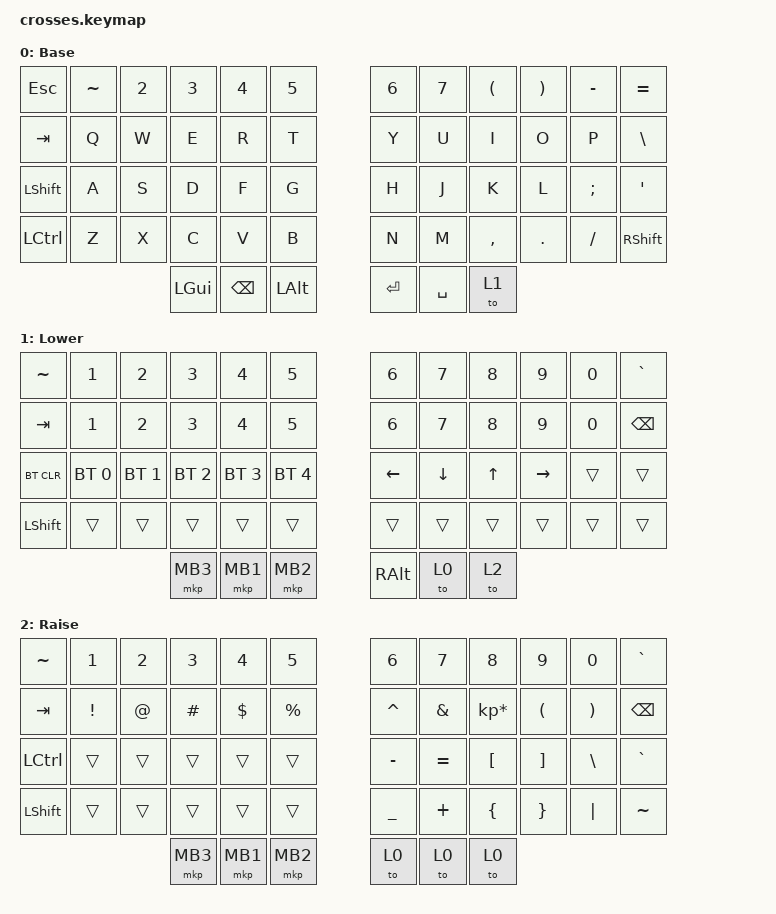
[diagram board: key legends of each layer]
#include <behaviors.dtsi>
#include <dt-bindings/zmk/bt.h>
#include <dt-bindings/zmk/keys.h>
#include <dt-bindings/zmk/pointing.h>

/ {
    chosen { zmk,physical-layout = &gggw_crosses_54_layout; };

    keymap {
        compatible = "zmk,keymap";

        default_layer {
            display-name = "Base";
            bindings = <
&kp ESCAPE      &kp TILDE  &kp N2  &kp N3        &kp N4         &kp N5        &kp N6     &kp N7     &kp LEFT_PARENTHESIS  &kp RIGHT_PARENTHESIS  &kp MINUS  &kp EQUAL
&kp TAB         &kp Q      &kp W   &kp E         &kp R          &kp T         &kp Y      &kp U      &kp I                 &kp O                  &kp P      &kp BACKSLASH
&kp LEFT_SHIFT  &kp A      &kp S   &kp D         &kp F          &kp G         &kp H      &kp J      &kp K                 &kp L                  &kp SEMI   &kp SQT
&kp LCTRL       &kp Z      &kp X   &kp C         &kp V          &kp B         &kp N      &kp M      &kp COMMA             &kp DOT                &kp FSLH   &kp RIGHT_SHIFT
                                   &kp LEFT_GUI  &kp BACKSPACE  &kp LEFT_ALT  &kp ENTER  &kp SPACE  &to 1
            >;
        };

        lower_layer {
            display-name = "Lower";
            bindings = <
&kp TILDE   &kp N1        &kp N2        &kp N3        &kp N4        &kp N5        &kp N6         &kp N7    &kp N8  &kp N9     &kp N0  &kp GRAVE
&kp TAB     &kp N1        &kp N2        &kp N3        &kp N4        &kp N5        &kp N6         &kp N7    &kp N8  &kp N9     &kp N0  &kp BSPC
&bt BT_CLR  &bt BT_SEL 0  &bt BT_SEL 1  &bt BT_SEL 2  &bt BT_SEL 3  &bt BT_SEL 4  &kp LEFT       &kp DOWN  &kp UP  &kp RIGHT  &trans  &trans
&kp LSHFT   &trans        &trans        &trans        &trans        &trans        &trans         &trans    &trans  &trans     &trans  &trans
                                        &mkp MB3      &mkp MB1      &mkp MB2      &kp RIGHT_ALT  &to 0     &to 2
            >;
        };

        raise_layer {
            display-name = "Raise";
            bindings = <
&kp TILDE  &kp N1    &kp N2  &kp N3    &kp N4    &kp N5     &kp N6     &kp N7     &kp N8           &kp N9    &kp N0    &kp GRAVE
&kp TAB    &kp EXCL  &kp AT  &kp HASH  &kp DLLR  &kp PRCNT  &kp CARET  &kp AMPS   &kp KP_MULTIPLY  &kp LPAR  &kp RPAR  &kp BSPC
&kp LCTRL  &trans    &trans  &trans    &trans    &trans     &kp MINUS  &kp EQUAL  &kp LBKT         &kp RBKT  &kp BSLH  &kp GRAVE
&kp LSHFT  &trans    &trans  &trans    &trans    &trans     &kp UNDER  &kp PLUS   &kp LBRC         &kp RBRC  &kp PIPE  &kp TILDE
                             &mkp MB3  &mkp MB1  &mkp MB2   &to 0      &to 0      &to 0
            >;
        };
    };
};
